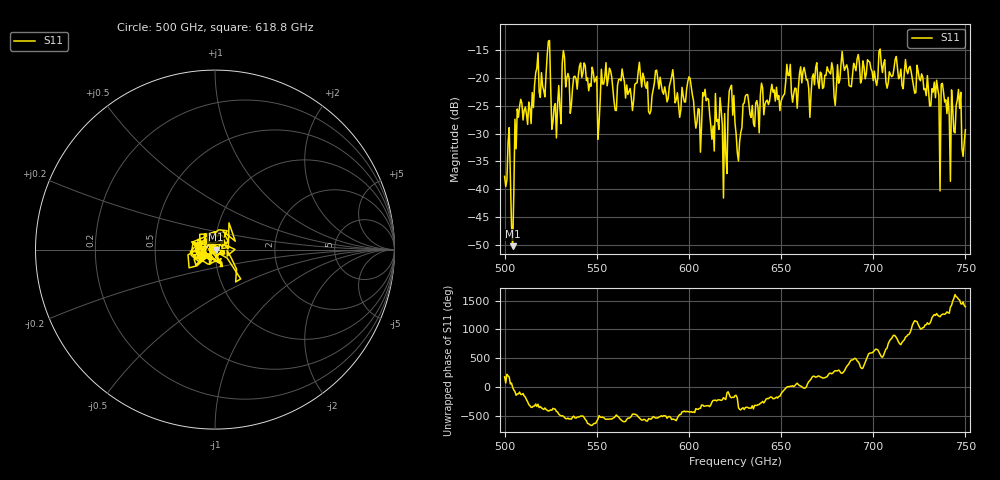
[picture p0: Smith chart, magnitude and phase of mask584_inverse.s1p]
!Created with skrf (http://scikit-rf.org).
# GHz S MA R 50.0
!freq magS11 angS11
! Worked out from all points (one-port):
!   401 points, 500 GHz to 750 GHz, reference 50 ohm
!   lowest |S11| = -50.2 dB at 504.4 GHz (marker M1), VSWR 1.01, Z = 50.3 - j0.0391 ohm
!   |S11| at or under -10 dB: start of sweep to end of sweep
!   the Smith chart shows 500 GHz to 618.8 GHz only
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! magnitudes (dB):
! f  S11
! 500 GHz  -37.7
! 504.4 GHz  -50.2
! 508.1 GHz  -25.1
! 513.1 GHz  -24.3
! 523.8 GHz  -13.4
! 526.9 GHz  -25.2
! 531.2 GHz  -17.4
! 548.8 GHz  -20.8
! 550.6 GHz  -31.0
! 562.5 GHz  -20.2
! 593.8 GHz  -22.7
! 600 GHz  -19.8
! 605 GHz  -25.5
! 608.8 GHz  -22.0
! 612.5 GHz  -31.0
! 616.9 GHz  -23.5
! 619.4 GHz  -26.4
! 622.5 GHz  -21.7
! 625 GHz  -28.1
! 626.9 GHz  -34.9
! 630.6 GHz  -23.3
! 656.2 GHz  -24.4
! 687.5 GHz  -21.5
! 718.8 GHz  -19.2
! 738.1 GHz  -22.5
! 743.1 GHz  -25.7
! 746.2 GHz  -22.1
! 750 GHz  -29.3
